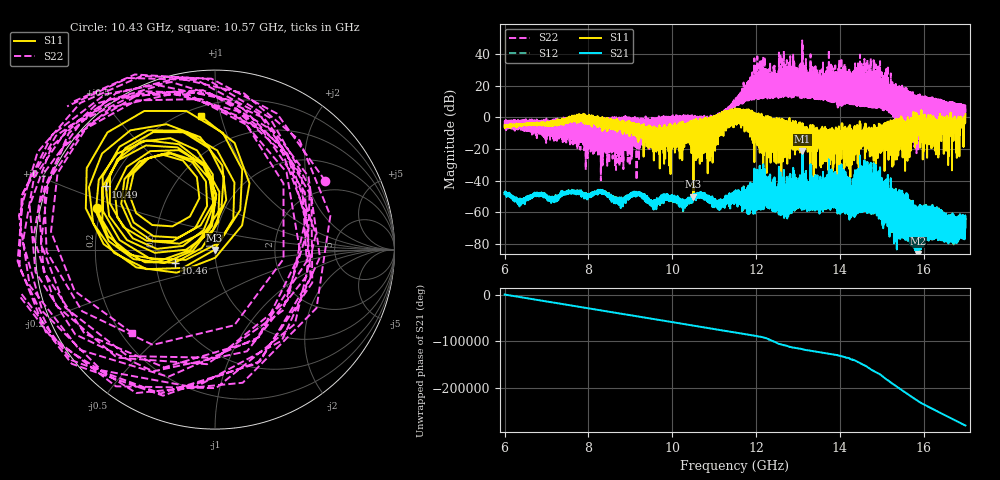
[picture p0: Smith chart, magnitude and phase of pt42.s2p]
#  HZ  S  RI  R  50.00
! Rohde & Schwarz Vector Network Analyzer
! Rohde-Schwarz,ZNA67-2Port,1332450062101215,3.01
! Created: UTC 10/15/2026, 4:36:38 PM
! freq[Hz]  re:S11  im:S11  re:S21  im:S21  re:S12  im:S12  re:S22  im:S22
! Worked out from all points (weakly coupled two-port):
!   11001 points, 6 GHz to 17 GHz, reference 50 ohm
!   highest |S21| = -21.35 dB at 13.1 GHz (marker M1); lowest = -86.1 dB at 15.87 GHz (marker M2)
!   lowest |S11| = -50.1 dB at 10.51 GHz (marker M3), VSWR 1.01, Z = 49.7 - j0.144 ohm
!   |S11| at or under -10 dB: 13.47956 GHz to 13.5191 GHz (39.54 MHz wide, 0.293 % of centre); 13.59816 GHz to 13.6468 GHz (48.64 MHz wide, 0.357 % of centre); 13.7721 GHz to 13.80276 GHz (30.67 MHz wide, 0.222 % of centre) (the widest 3 of 529)
!   |S22| runs from -39.8 to 48.6 dB; largest |S21 - S12| = 0.0026
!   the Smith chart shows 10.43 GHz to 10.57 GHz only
!   S11 on the Smith chart (normalised r, x): 10.43 GHz: 0.18, +0.17; 10.46 GHz: 0.63, -0.10; 10.49 GHz: 0.19, +0.26; 10.57 GHz: 0.26, +0.87
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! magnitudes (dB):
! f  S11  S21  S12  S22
! 6 GHz  -5.1  -48.6  -48.6  -6.3
! 6.381 GHz  -4.4  -53.7  -53.7  -3.3
! 7.834 GHz  -0.5  -49.8  -49.6  -4.8
! 9.163 GHz  -5.0  -48.9  -48.7  -10.9
! 9.667 GHz  -12.8  -51.8  -52.0  -3.0
! 10.43 GHz  -3.1  -52.5  -52.6  -2.8
! 10.46 GHz  -12.6  -53.5  -53.4  -0.2
! 10.49 GHz  -3.1  -51.3  -51.5  -5.3
! 10.51 GHz  -50.1  -50.8  -50.9  1.4
! 10.57 GHz  -2.5  -48.7  -48.8  -3.7
! 11.03 GHz  -5.1  -54.0  -54.0  0.6
! 11.5 GHz  5.4  -49.5  -49.4  8.7
! 12.73 GHz  -3.7  -56.8  -56.6  16.7
! 13.1 GHz  -6.7  -21.4  -21.3  48.6
! 13.33 GHz  -9.2  -54.9  -54.9  15.9
! 14.61 GHz  -4.4  -54.7  -54.7  14.0
! 15.17 GHz  -9.3  -67.2  -67.6  5.2
! 15.87 GHz  -5.7  -86.1  -85.9  -21.4
! 16.31 GHz  -3.8  -75.1  -75.2  -7.5
! 16.42 GHz  -9.6  -58.6  -58.8  10.8
! 16.57 GHz  -0.5  -77.5  -77.8  -4.2
! 17 GHz  2.1  -69.8  -69.5  2.0
